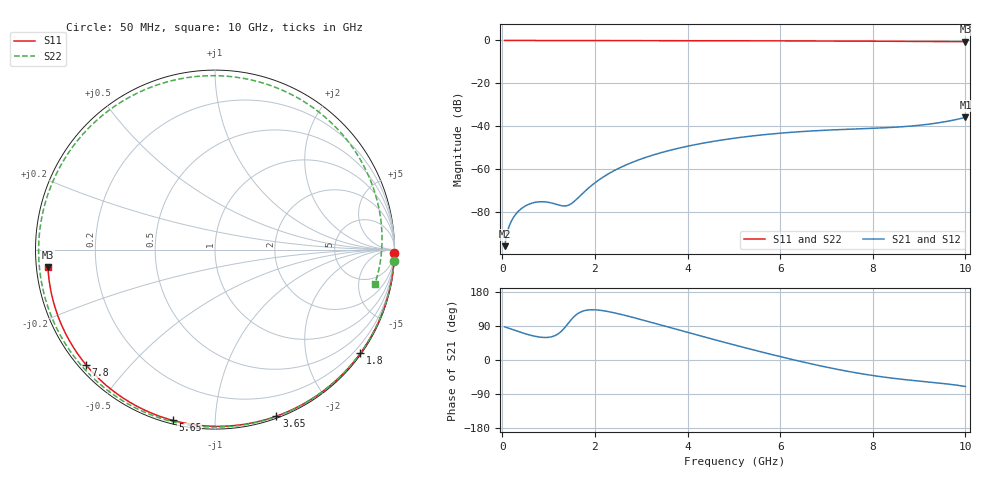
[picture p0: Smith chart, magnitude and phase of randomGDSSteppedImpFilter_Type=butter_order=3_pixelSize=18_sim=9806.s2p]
! freq	dB(S11)	phase(S11)	dB(S12)	phase(S12)
!  dB(S21)	phase(S21)	dB(S22)	phase(S22)
!S-par simulation data
#  GHz  S  DB  R 50
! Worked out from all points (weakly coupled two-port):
!   200 points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, 50 MHz to 10 GHz, reference 50 ohm
!   highest |S21| = -35.80 dB at 10 GHz (marker M1); lowest = -95.7 dB at 50 MHz (marker M2)
!   lowest |S11| = -0.6 dB at 10 GHz (marker M3), VSWR 30.30, Z = 1.66 - j2.65 ohm
!   |S11| at or under -10 dB: nowhere
!   |S22| runs from -0.8 to 0.0 dB; largest |S21 - S12| = 0
!   S11 on the Smith chart (normalised r, x): 50 MHz: open; 1.8 GHz: 0.03, -3.13; 3.65 GHz: 0.02, -1.43; 5.65 GHz: 0.02, -0.78; 7.8 GHz: 0.02, -0.38; 10 GHz: 0.03, -0.05
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0.05  -0.00 -1.0  -95.72 87.5  -95.72 87.5  -0.00 -3.5
0.3  -0.01 -6.0  -80.60 76.9  -80.60 76.9  -0.03 -20.9
0.45  -0.01 -9.0  -77.66 70.9  -77.66 70.9  -0.04 -31.0
0.65  -0.02 -13.0  -75.64 64.1  -75.64 64.1  -0.06 -44.2
0.9  -0.02 -17.9  -75.06 59.5  -75.06 59.5  -0.07 -59.9
1.4  -0.04 -27.7  -76.85 93.1  -76.85 93.1  -0.10 -88.3
1.75  -0.04 -34.5  -70.87 129.4  -70.87 129.4  -0.11 -105.7
1.8  -0.05 -35.5  -69.87 131.0  -69.87 131.0  -0.11 -108.1
2.15  -0.05 -42.2  -63.95 130.6  -63.95 130.6  -0.12 -123.5
2.55  -0.06 -49.7  -59.12 120.8  -59.12 120.8  -0.12 -139.4
2.95  -0.07 -57.1  -55.52 108.2  -55.52 108.2  -0.13 -153.9
3.4  -0.09 -65.3  -52.40 93.1  -52.40 93.1  -0.14 -168.8
3.65  -0.09 -69.8  -50.96 84.7  -50.96 84.7  -0.15 -176.6
4.3  -0.12 -81.2  -47.93 62.9  -47.93 62.9  -0.17 164.0
5.05  -0.15 -94.0  -45.37 38.4  -45.37 38.4  -0.19 142.7
5.65  -0.17 -103.9  -43.85 19.6  -43.85 19.6  -0.22 125.9
6.7  -0.24 -120.9  -42.08 -11.0  -42.08 -11.0  -0.26 96.1
7.25  -0.28 -129.6  -41.51 -25.0  -41.51 -25.0  -0.29 79.9
7.8  -0.32 -138.3  -41.05 -37.1  -41.05 -37.1  -0.33 63.2
8.35  -0.38 -147.0  -40.53 -46.9  -40.53 -46.9  -0.37 46.0
9.25  -0.48 -161.5  -38.84 -58.7  -38.84 -58.7  -0.51 16.2
10  -0.57 -173.9  -35.80 -69.9  -35.80 -69.9  -0.80 -12.0
